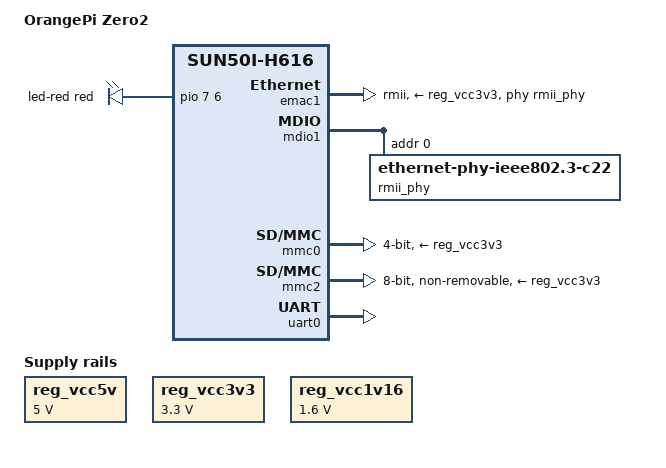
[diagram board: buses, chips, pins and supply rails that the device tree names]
// SPDX-License-Identifier: (GPL-2.0+ or MIT)
/*
 * Copyright (C) 2020 Arm Ltd.
 */

/dts-v1/;

#include "sun50i-h616.dtsi"

#include <dt-bindings/gpio/gpio.h>
#include <dt-bindings/interrupt-controller/arm-gic.h>
#include <dt-bindings/leds/common.h>

/ {
	model = "OrangePi Zero2";
	compatible = "xunlong,orangepi-zero2", "allwinner,sun50i-h616";

	aliases {
		mmc0 = &mmc0;
		mmc2 = &mmc2;
		ethernet0 = &emac1;
		serial0 = &uart0;
	};

	chosen {
		stdout-path = "serial0:115200n8";
	};

	leds {
		compatible = "gpio-leds";

		led-red {
			function = LED_FUNCTION_DISK_ACTIVITY;
			color = <LED_COLOR_ID_RED>;
			gpios = <&pio 7 6 GPIO_ACTIVE_HIGH>; /* PH6 */
			linux,default-trigger = "mmc0";
		};
	};

	reg_vcc5v: vcc5v {
		compatible = "regulator-fixed";
		regulator-name = "vcc-5v";
		regulator-min-microvolt = <5000000>;
		regulator-max-microvolt = <5000000>;
		regulator-always-on;
	};

	reg_vcc3v3: vcc3v3 {
		compatible = "regulator-fixed";
		regulator-name = "vcc-3v3";
		regulator-min-microvolt = <3300000>;
		regulator-max-microvolt = <3300000>;
		regulator-always-on;
	};

	reg_vcc1v16: vcc1v16 {
		compatible = "regulator-fixed";
		regulator-name = "vcc-1v16";
		regulator-min-microvolt = <1600000>;
		regulator-max-microvolt = <1600000>;
		regulator-always-on;
	};
};

&cpu0 {
	cpu-supply = <&reg_vcc1v16>;
	status = "okay";
};

&cpu1 {
	cpu-supply = <&reg_vcc1v16>;
	status = "okay";
};

&cpu2 {
	cpu-supply = <&reg_vcc1v16>;
	status = "okay";
};

&cpu3 {
	cpu-supply = <&reg_vcc1v16>;
	status = "okay";
};

&emac1 {
	pinctrl-names = "default";
	pinctrl-0 = <&rmii_pins>;
	phy-mode = "rmii";
	phy-handle = <&rmii_phy>;
	phy-supply = <&reg_vcc3v3>;
	allwinner,rx-delay-ps = <3100>;
	allwinner,tx-delay-ps = <700>;
	status = "okay";
};

&mdio1 {
	rmii_phy: ethernet-phy@0 {
		compatible = "ethernet-phy-ieee802.3-c22";
		reg = <0>;
	};
};

&mmc0 {
	vmmc-supply = <&reg_vcc3v3>;
	broken-cd;
	bus-width = <4>;
	status = "okay";
};

&mmc2 {
	vmmc-supply = <&reg_vcc3v3>;
	bus-width = <8>;
	non-removable;
	cap-mmc-hw-reset;
	status = "okay";
};

&pio {
	vcc-pc-supply = <&reg_vcc3v3>;
	vcc-pf-supply = <&reg_vcc3v3>;
	vcc-pg-supply = <&reg_vcc1v16>;
	vcc-ph-supply = <&reg_vcc3v3>;
	vcc-pi-supply = <&reg_vcc3v3>;
};

&uart0 {
	pinctrl-names = "default";
	pinctrl-0 = <&uart0_ph_pins>;
	status = "okay";
};

&emac0 {
    status = "disabled";
};
